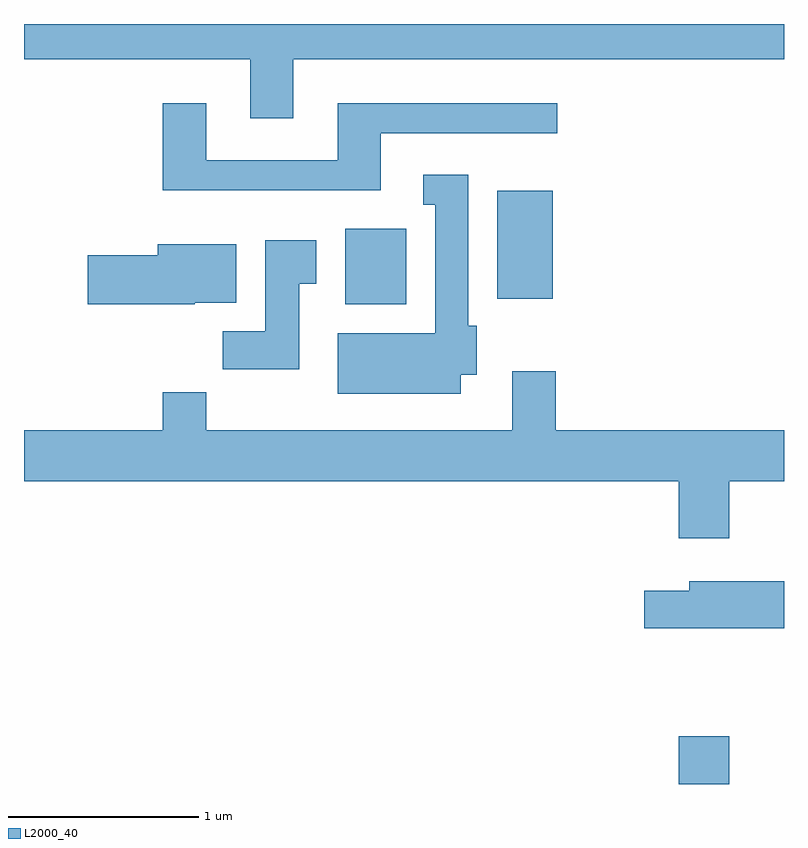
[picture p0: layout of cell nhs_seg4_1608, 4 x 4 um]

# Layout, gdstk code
import gdstk
lib = gdstk.Library(unit=1e-6, precision=1e-09)
def R(c, l, rs):  # rectangles x0, y0, x1, y1
    for r in rs: c.add(gdstk.rectangle(r[:2], r[2:], *l))
def P(c, l, *ps):  # polygons
    for p in ps: c.add(gdstk.Polygon(p, *l))
L2000_40 = (2000, 40)

nhs_seg4_1608 = lib.new_cell('nhs_seg4_1608')
R(nhs_seg4_1608, L2000_40, [(235.056,1341.982,235.324,1342.234), (233.301,1344.506,233.624,1344.904), (234.101,1344.536,234.394,1345.104)])
P(nhs_seg4_1608, L2000_40, [(233.029,1345.796),(235.611,1345.796),(235.611,1345.982),(231.611,1345.982),(231.611,1345.796),(232.801,1345.796),(232.801,1345.486),(233.029,1345.486)],
  [(233.489,1345.406),(234.418,1345.406),(234.418,1345.564),(233.261,1345.564),(233.261,1345.264),(232.569,1345.264),(232.569,1345.564),(232.341,1345.564),(232.341,1345.106),(233.489,1345.106)],
  [(233.909,1344.136),(233.994,1344.136),(233.994,1344.394),(233.949,1344.394),(233.949,1345.189),(233.713,1345.189),(233.713,1345.031),(233.776,1345.031),(233.776,1344.354),(233.261,1344.354),(233.261,1344.036),(233.909,1344.036)],
  [(233.059,1344.616),(233.149,1344.616),(233.149,1344.844),(232.881,1344.844),(232.881,1344.364),(232.656,1344.364),(232.656,1344.166),(233.059,1344.166)],
  [(232.51,1344.516),(232.729,1344.516),(232.729,1344.824),(232.316,1344.824),(232.316,1344.764),(231.946,1344.764),(231.946,1344.506),(232.51,1344.506)],
  [(235.324,1343.576),(235.611,1343.576),(235.611,1343.844),(234.409,1343.844),(234.409,1344.154),(234.181,1344.154),(234.181,1343.844),(232.569,1343.844),(232.569,1344.044),(232.341,1344.044),(232.341,1343.844),(231.611,1343.844),(231.611,1343.576),(235.056,1343.576),(235.056,1343.276),(235.324,1343.276)],
  [(235.611,1343.049),(235.111,1343.049),(235.111,1342.999),(234.876,1342.999),(234.876,1342.801),(235.611,1342.801)])

lib.write_gds('nhs_seg4_1608.gds')
